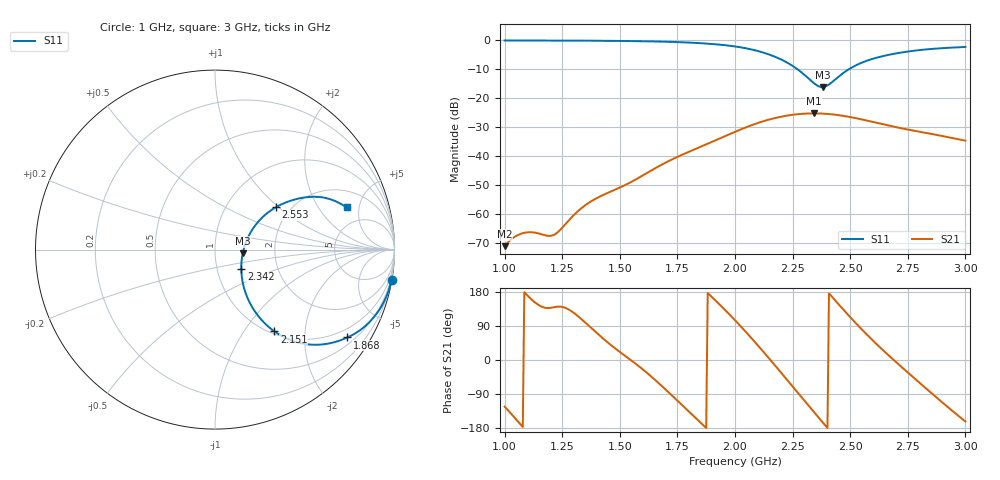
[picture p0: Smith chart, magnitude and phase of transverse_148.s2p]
! TOUCHSTONE file generated by CST MICROWAVE STUDIO
! Date and time: Tue Mar 11 13:57:11 2025
! Project name: transverse.cst
! Parameters = {Fracture=5; B=10; D=160; F=5; Feed=2.85625; L=100; M=10; R=0.384908; S=2; Theta=180; length=57.125; wave=114.25}
! Header version: 2024
! Port assignment regex: !\s*Touchstone port\s*([0-9]+)\s*=\s*(CST MWS port|CST DES external port|CST DES block port)\s*(.+)\s* \(\"(.*)\"\)(\s*mode\s*([0-9]+))?.*
! Touchstone port assignment:
! Touchstone port 1 = CST MWS port 1 ("")
! Touchstone port 2 = CST MWS port 2 ("")
# GHz S MA R 50
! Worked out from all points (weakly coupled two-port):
!   305 points, 1 GHz to 3 GHz, reference 50 ohm
!   highest |S21| = -25.28 dB at 2.342 GHz (marker M1); lowest = -71.3 dB at 1 GHz (marker M2)
!   lowest |S11| = -16.2 dB at 2.382 GHz (marker M3), VSWR 1.37, Z = 68.2 - j3.03 ohm
!   |S11| at or under -10 dB: 2.271 GHz to 2.494 GHz (222.8 MHz wide, 9.35 % of centre)
!   S12 and S22 are empty: the file has one direction only
!   S11 on the Smith chart (normalised r, x): 1 GHz: 0, -12; 1.868 GHz: 0.70, -3.18; 2.151 GHz: 1.04, -1.39; 2.342 GHz: 1.31, -0.29; 2.553 GHz: 1.69, +0.97; 3 GHz: 3.22, +3.72
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1  0.9978 -9.8  0.0002737 -123.0  0 0.0  0 0.0
1.03947  0.9973 -10.3  0.0003871 -149.7  0 0.0  0 0.0
1.08553  0.9965 -10.9  0.0004666 178.9  0 0.0  0 0.0
1.19079  0.9949 -12.5  0.0004128 137.1  0 0.0  0 0.0
1.21711  0.9944 -13.0  0.0004364 139.6  0 0.0  0 0.0
1.33553  0.9899 -15.2  0.001264 106.8  0 0.0  0 0.0
1.39474  0.9869 -16.4  0.001812 74.1  0 0.0  0 0.0
1.53289  0.9758 -19.9  0.003269 6.5  0 0.0  0 0.0
1.67105  0.9547 -24.3  0.006683 -62.3  0 0.0  0 0.0
1.86842  0.8855 -33.6  0.01542 -175.6  0 0.0  0 0.0
2  0.7863 -42.3  0.02612 105.0  0 0.0  0 0.0
2.15132  0.5637 -54.0  0.04296 1.7  0 0.0  0 0.0
2.25  0.362 -56.9  0.05155 -69.8  0 0.0  0 0.0
2.33553  0.1918 -40.0  0.05445 -132.2  0 0.0  0 0.0
2.34211  0.1823 -36.6  0.05447 -136.9  0 0.0  0 0.0
2.38158  0.1557 -8.0  0.05395 -165.3  0 0.0  0 0.0
2.40789  0.1727 11.1  0.05304 176.1  0 0.0  0 0.0
2.46711  0.2671 31.5  0.04962 135.1  0 0.0  0 0.0
2.55263  0.415 34.8  0.04263 79.3  0 0.0  0 0.0
2.67105  0.5664 30.6  0.03318 9.8  0 0.0  0 0.0
2.83553  0.7018 23.5  0.02478 -78.4  0 0.0  0 0.0
3  0.7699 17.8  0.01839 -162.2  0 0.0  0 0.0
